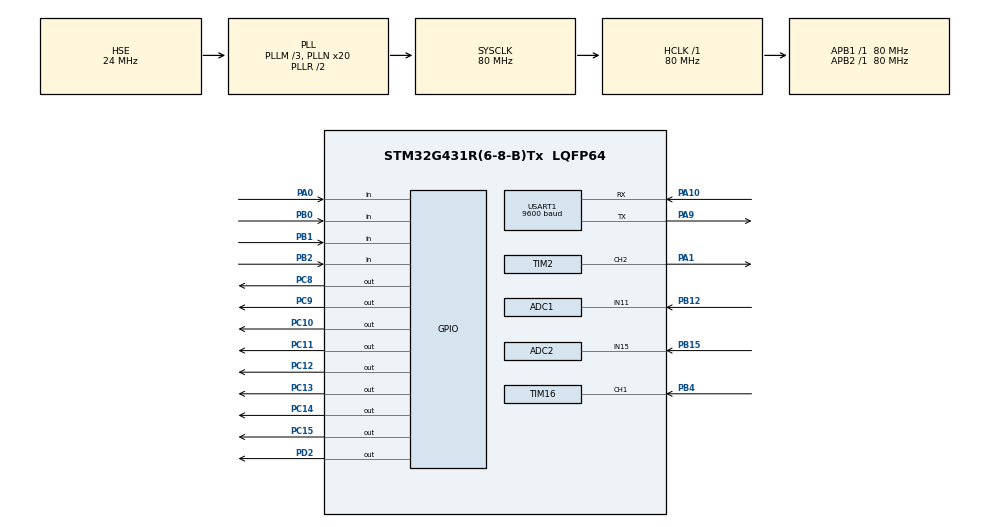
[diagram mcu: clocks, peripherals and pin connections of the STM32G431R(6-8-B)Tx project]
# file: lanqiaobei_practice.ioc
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ADC1.Channel-0\#ChannelRegularConversion=ADC_CHANNEL_11
ADC1.NbrOfConversionFlag=1
ADC1.OffsetNumber-0\#ChannelRegularConversion=ADC_OFFSET_NONE
ADC1.Rank-0\#ChannelRegularConversion=1
ADC1.SamplingTime-0\#ChannelRegularConversion=ADC_SAMPLETIME_2CYCLES_5
ADC1.master=1
ADC2.Channel-0\#ChannelRegularConversion=ADC_CHANNEL_15
ADC2.NbrOfConversionFlag=1
ADC2.OffsetNumber-0\#ChannelRegularConversion=ADC_OFFSET_NONE
ADC2.Rank-0\#ChannelRegularConversion=1
ADC2.SamplingTime-0\#ChannelRegularConversion=ADC_SAMPLETIME_2CYCLES_5
Mcu.Family=STM32G4
Mcu.Name=STM32G431R(6-8-B)Tx
Mcu.Package=LQFP64
NVIC.PriorityGroup=NVIC_PRIORITYGROUP_4
NVIC.TIM1_UP_TIM16_IRQn=true\:0\:0\:false\:false\:true\:true\:true\:true
NVIC.TIM3_IRQn=true\:0\:0\:false\:false\:true\:true\:true\:true
NVIC.USART1_IRQn=true\:0\:0\:false\:false\:true\:true\:true\:true
PA0.GPIO_PuPd=GPIO_PULLUP
PA0.Signal=GPIO_Input
PA1.Signal=S_TIM2_CH2
PA10.Mode=Asynchronous
PA10.Signal=USART1_RX
PA13.Mode=Serial_Wire
PA13.Signal=SYS_JTMS-SWDIO
PA14.Mode=Serial_Wire
PA14.Signal=SYS_JTCK-SWCLK
PA9.Mode=Asynchronous
PA9.Signal=USART1_TX
PB0.GPIO_PuPd=GPIO_PULLUP
PB0.Signal=GPIO_Input
PB1.GPIO_PuPd=GPIO_PULLUP
PB1.Signal=GPIO_Input
PB12.Mode=IN11-Single-Ended
PB12.Signal=ADC1_IN11
PB15.Mode=IN15-Single-Ended
PB15.Signal=ADC2_IN15
PB2.GPIO_PuPd=GPIO_PULLUP
PB2.Signal=GPIO_Input
PB4.Signal=S_TIM16_CH1
PC10.PinState=GPIO_PIN_SET
PC10.Signal=GPIO_Output
PC11.PinState=GPIO_PIN_SET
PC11.Signal=GPIO_Output
PC12.PinState=GPIO_PIN_SET
PC12.Signal=GPIO_Output
PC13.PinState=GPIO_PIN_SET
PC13.Signal=GPIO_Output
PC14-OSC32_IN.PinState=GPIO_PIN_SET
PC14-OSC32_IN.Signal=GPIO_Output
PC15-OSC32_OUT.PinState=GPIO_PIN_SET
PC15-OSC32_OUT.Signal=GPIO_Output
PC8.PinState=GPIO_PIN_SET
PC8.Signal=GPIO_Output
PC9.PinState=GPIO_PIN_SET
PC9.Signal=GPIO_Output
PD2.Signal=GPIO_Output
PF0-OSC_IN.Mode=HSE-External-Oscillator
PF0-OSC_IN.Signal=RCC_OSC_IN
PF1-OSC_OUT.Mode=HSE-External-Oscillator
PF1-OSC_OUT.Signal=RCC_OSC_OUT
ProjectManager.HeapSize=0x200
ProjectManager.StackSize=0x400
ProjectManager.TargetToolchain=MDK-ARM V5.32
RCC.ADC12Freq_Value=80000000
RCC.AHBFreq_Value=80000000
RCC.APB1Freq_Value=80000000
RCC.APB1TimFreq_Value=80000000
RCC.APB2Freq_Value=80000000
RCC.APB2TimFreq_Value=80000000
RCC.CortexFreq_Value=80000000
RCC.EXTERNAL_CLOCK_VALUE=12288000
RCC.HCLKFreq_Value=80000000
RCC.HSE_VALUE=24000000
RCC.HSI48_VALUE=48000000
RCC.HSI_VALUE=16000000
RCC.LSE_VALUE=32768
RCC.PLLM=RCC_PLLM_DIV3
RCC.PLLN=20
RCC.PLLSourceVirtual=RCC_PLLSOURCE_HSE
RCC.SYSCLKFreq_VALUE=80000000
RCC.SYSCLKSource=RCC_SYSCLKSOURCE_PLLCLK
RCC.USBFreq_Value=80000000
RCC.VCOOutputFreq_Value=160000000
SH.S_TIM16_CH1.0=TIM16_CH1,Input_Capture1_from_TI1
SH.S_TIM2_CH2.0=TIM2_CH2,PWM Generation2 CH2
TIM16.Channel=TIM_CHANNEL_1
TIM16.Prescaler=80-1
TIM2.Channel-PWM\ Generation2\ CH2=TIM_CHANNEL_2
TIM2.PeriodNoDither=100-1
TIM2.Prescaler=800-1
TIM3.PeriodNoDither=10000-1
TIM3.Prescaler=800-1
USART1.BaudRate=9600
USART1.VirtualMode-Asynchronous=VM_ASYNC
VP_SYS_VS_DBSignals.Mode=DisableDeadBatterySignals
VP_TIM16_VS_ClockSourceINT.Mode=Enable_Timer
VP_TIM3_VS_ClockSourceINT.Mode=Internal
board=custom

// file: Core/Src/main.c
/* USER CODE BEGIN Header */
/**
  ******************************************************************************
  * @file           : main.c
  * @brief          : Main program body
  ******************************************************************************
  * @attention
  *
  * Copyright (c) 2025 STMicroelectronics.
  * All rights reserved.
  *
  * This software is licensed under terms that can be found in the LICENSE file
  * in the root directory of this software component.
  * If no LICENSE file comes with this software, it is provided AS-IS.
  *
  ******************************************************************************
  */
/* USER CODE END Header */
#include "main.h"
#include "adc.h"
#include "tim.h"
#include "usart.h"
#include "gpio.h"

/* USER CODE BEGIN Includes */
#include "stdio.h"
#include "stdint.h"
#include "string.h"
#include "lcd.h"
#include "i2c_hal.h"
/* USER CODE END Includes */

/* USER CODE BEGIN PV */
uint8_t B1_State, B1_Last_State;
uint8_t B2_State, B2_Last_State;
uint8_t B3_State, B3_Last_State;
uint8_t B4_State, B4_Last_State;
uint8_t count, rec_flag, rec_data;  // 接收缓冲区的下标, 串口接收标志, 串口接收数据
char text[20], send_buff[255], rec_buff[255];
double vol_r37, vol_r38;  // R37的电压
uint8_t num_overflow, number;  // 数据是否大于10的标志， 数据
uint8_t open_count, led1_mode=1, led2_mode=1, tim2_flag, tim3_flag;  // 开机次数
uint16_t X=2, Y=2, T=0, fre_r39;
/* USER CODE END PV */

void SystemClock_Config(void);
/* USER CODE BEGIN PFP */
void LED_Show(uint8_t led, uint8_t mode);
void KEY_Scan(void);
void LCD_Proc(void);
void USART_Proc(void);
void LED_Proc(void);
/* USER CODE END PFP */

int main(void)
{

  /* MCU Configuration--------------------------------------------------------*/

  /* Reset of all peripherals, Initializes the Flash interface and the Systick. */
  HAL_Init();

  /* Configure the system clock */
  SystemClock_Config();

  /* Initialize all configured peripherals */
  MX_GPIO_Init();
  MX_TIM2_Init();
  MX_ADC2_Init();
  MX_USART1_UART_Init();
  MX_ADC1_Init();
  MX_TIM3_Init();
  MX_TIM16_Init();
  /* USER CODE BEGIN 2 */
    // TIM2
    HAL_TIM_PWM_Start(&htim2, TIM_CHANNEL_2);
    HAL_TIM_IC_Start_IT(&htim16, TIM_CHANNEL_1);
    // LCD
    LCD_Init();
    LCD_Clear(Black);
    LCD_SetBackColor(Black);
    LCD_SetTextColor(White);
    // ADC
    HAL_ADCEx_Calibration_Start(&hadc2, ADC_SINGLE_ENDED);
    HAL_ADC_Start(&hadc2);
    HAL_ADCEx_Calibration_Start(&hadc1, ADC_SINGLE_ENDED);
    HAL_ADC_Start(&hadc1);
    // USART1
    HAL_UART_Receive_IT(&huart1, &rec_data, 1);
    // I2C
    I2CInit();
  /* USER CODE END 2 */

  /* Infinite loop */
  /* USER CODE BEGIN WHILE */
  while (1)
  {
      LCD_Proc();
      // USART_Proc();
      // KEY_Scan();
      // LED_Proc();
    /* USER CODE END WHILE */

  }
}

void SystemClock_Config(void)
{
  RCC_OscInitTypeDef RCC_OscInitStruct = {0};
  RCC_ClkInitTypeDef RCC_ClkInitStruct = {0};

  /** Configure the main internal regulator output voltage
  */
  HAL_PWREx_ControlVoltageScaling(PWR_REGULATOR_VOLTAGE_SCALE1);

  /** Initializes the RCC Oscillators according to the specified parameters
  * in the RCC_OscInitTypeDef structure.
  */
  RCC_OscInitStruct.OscillatorType = RCC_OSCILLATORTYPE_HSE;
  RCC_OscInitStruct.HSEState = RCC_HSE_ON;
  RCC_OscInitStruct.PLL.PLLState = RCC_PLL_ON;
  RCC_OscInitStruct.PLL.PLLSource = RCC_PLLSOURCE_HSE;
  RCC_OscInitStruct.PLL.PLLM = RCC_PLLM_DIV3;
  RCC_OscInitStruct.PLL.PLLN = 20;
  RCC_OscInitStruct.PLL.PLLP = RCC_PLLP_DIV2;
  RCC_OscInitStruct.PLL.PLLQ = RCC_PLLQ_DIV2;
  RCC_OscInitStruct.PLL.PLLR = RCC_PLLR_DIV2;
  if (HAL_RCC_OscConfig(&RCC_OscInitStruct) != HAL_OK)
  {
    Error_Handler();
  }

  /** Initializes the CPU, AHB and APB buses clocks
  */
  RCC_ClkInitStruct.ClockType = RCC_CLOCKTYPE_HCLK|RCC_CLOCKTYPE_SYSCLK
                              |RCC_CLOCKTYPE_PCLK1|RCC_CLOCKTYPE_PCLK2;
  RCC_ClkInitStruct.SYSCLKSource = RCC_SYSCLKSOURCE_PLLCLK;
  RCC_ClkInitStruct.AHBCLKDivider = RCC_SYSCLK_DIV1;
  RCC_ClkInitStruct.APB1CLKDivider = RCC_HCLK_DIV1;
  RCC_ClkInitStruct.APB2CLKDivider = RCC_HCLK_DIV1;

  if (HAL_RCC_ClockConfig(&RCC_ClkInitStruct, FLASH_LATENCY_2) != HAL_OK)
  {
    Error_Handler();
  }
}

/* USER CODE BEGIN 4 */
void LED_Show(uint8_t led, uint8_t mode){
    if(mode){
        HAL_GPIO_WritePin(GPIOC, led<<8, GPIO_PIN_RESET);
        HAL_GPIO_WritePin(GPIOD, GPIO_PIN_2, GPIO_PIN_SET);
        HAL_GPIO_WritePin(GPIOD, GPIO_PIN_2, GPIO_PIN_RESET);
    }else{
        HAL_GPIO_WritePin(GPIOC, led<<8, GPIO_PIN_SET);
        HAL_GPIO_WritePin(GPIOD, GPIO_PIN_2, GPIO_PIN_SET);
        HAL_GPIO_WritePin(GPIOD, GPIO_PIN_2, GPIO_PIN_RESET);
    }
}
void KEY_Scan(void){
    B1_State=HAL_GPIO_ReadPin(GPIOB, GPIO_PIN_0);
    B2_State=HAL_GPIO_ReadPin(GPIOB, GPIO_PIN_1);
    B3_State=HAL_GPIO_ReadPin(GPIOB, GPIO_PIN_2);
    B4_State=HAL_GPIO_ReadPin(GPIOA, GPIO_PIN_0);
    if(B1_State==0 && B1_Last_State==1){

    }
    if(B2_State==0 && B2_Last_State==1){

    }
    if(B3_State==0 && B3_Last_State==1){

    }
    if(B4_State==0 && B4_Last_State==1){

    }
    B1_Last_State=B1_State;
    B2_Last_State=B2_State;
    B3_Last_State=B3_State;
    B4_Last_State=B4_State;
}
double Get_Vol(ADC_HandleTypeDef* hadc){
    HAL_ADC_Start(hadc);
    uint32_t cnt=0;
    cnt=HAL_ADC_GetValue(hadc);
    return cnt*3.3/4096;
}
void LCD_Proc(void){
    sprintf(text, "        DATA        ");
    LCD_DisplayStringLine(Line3, (uint8_t*)text);
//    vol_r37=Get_Vol(&hadc2);
//    sprintf(text, "     VR37:%.2fV     ", vol_r37);
//    LCD_DisplayStringLine(Line4, (uint8_t*)text);
    sprintf(text, "     PR39:%4dHz", fre_r39);
    LCD_DisplayStringLine(Line4, (uint8_t*)text);
//    vol_r38=Get_Vol(&hadc1);
//    sprintf(text, "     VR38:%.2fV     ", vol_r38);
//    LCD_DisplayStringLine(Line5, (uint8_t*)text);
//    sprintf(text, "        DATA        ");
//    LCD_DisplayStringLine(Line2, (uint8_t*)text);
//    sprintf(text, "        X:%d        ", X);
//    LCD_DisplayStringLine(Line3, (uint8_t*)text);
//    sprintf(text, "        Y:%d        ", Y);
//    LCD_DisplayStringLine(Line4, (uint8_t*)text);
//    T = X*Y;
//    sprintf(text, "        T:%d    ", T);
//    LCD_DisplayStringLine(Line5, (uint8_t*)text);
}
void LED_Proc(void){
    HAL_TIM_PWM_Stop(&htim2, TIM_CHANNEL_2);
    if(vol_r37>2.4){
        __HAL_TIM_SET_AUTORELOAD(&htim2, 100-1);
    }else{
        __HAL_TIM_SET_AUTORELOAD(&htim2, 1000/6-1);
    }
    HAL_TIM_PWM_Start(&htim2, TIM_CHANNEL_2);
}
void USART_Proc(void){
    if(rec_flag){
        rec_flag=0;
        LCD_Clear(Black);
        if(strcmp("X", rec_buff)==0){

        }else if(strcmp("Y", rec_buff)==0){

        }else{

        }
        memset(rec_buff, 0, 255);
        count=0;
    }
}
void HAL_UART_RxCpltCallback(UART_HandleTypeDef *huart){
    if(huart->Instance==USART1){
        rec_flag=1;
        rec_buff[count++]=rec_data;
        HAL_UART_Receive_IT(huart, &rec_data, 1);
    }
}
void HAL_TIM_PeriodElapsedCallback(TIM_HandleTypeDef *htim){
    if(htim->Instance==TIM2){
        led1_mode^=1;
    }
    if(htim->Instance==TIM3){
        led2_mode^=1;
    }
}
void HAL_TIM_IC_CaptureCallback(TIM_HandleTypeDef *htim){
    if(htim->Instance==TIM16){
        uint32_t temp=HAL_TIM_ReadCapturedValue(htim, TIM_CHANNEL_1);
        TIM16->CNT=0;
        fre_r39=80000000/(80*temp);
    }
}
/* USER CODE END 4 */

void Error_Handler(void)
{
  __disable_irq();
  while (1)
  {
  }
}
